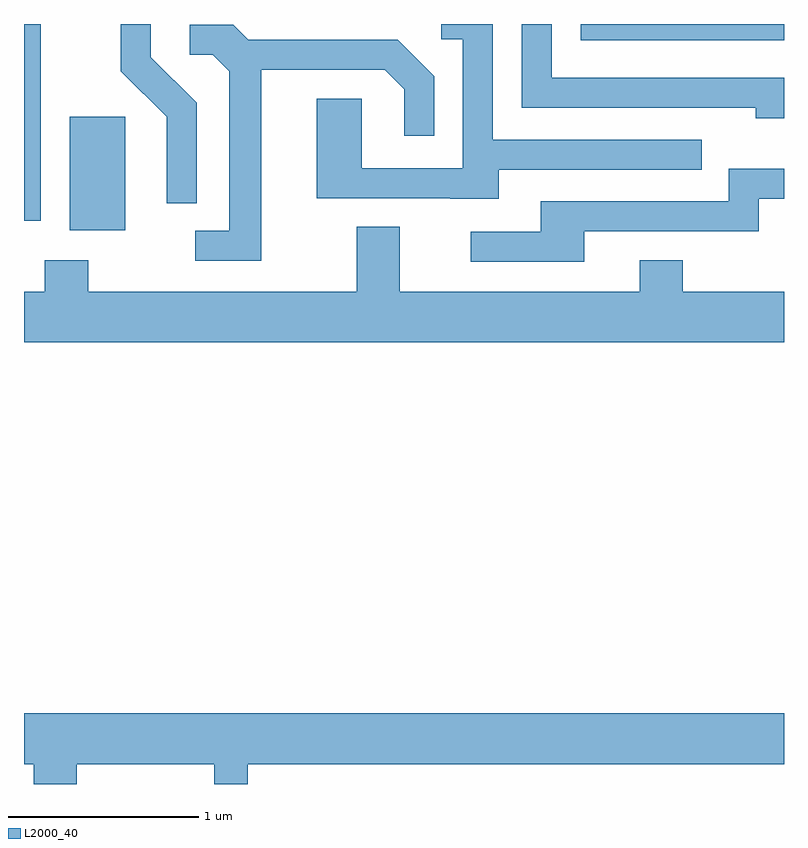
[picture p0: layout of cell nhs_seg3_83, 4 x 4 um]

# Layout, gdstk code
import gdstk
lib = gdstk.Library(unit=1e-6, precision=1e-09)
def R(c, l, rs):  # rectangles x0, y0, x1, y1
    for r in rs: c.add(gdstk.rectangle(r[:2], r[2:], *l))
def P(c, l, *ps):  # polygons
    for p in ps: c.add(gdstk.Polygon(p, *l))
L2000_40 = (2000, 40)

nhs_seg3_83 = lib.new_cell('nhs_seg3_83')
R(nhs_seg3_83, L2000_40, [(187.851,1148.806,188.144,1149.404), (187.611,1148.856,187.699,1149.892), (190.541,1149.806,191.611,1149.892)])
P(nhs_seg3_83, L2000_40, [(188.519,1149.477),(188.279,1149.717),(188.279,1149.892),(188.121,1149.892),(188.121,1149.644),(188.361,1149.404),(188.361,1148.948),(188.519,1148.948)],
  [(191.611,1149.609),(190.389,1149.609),(190.389,1149.892),(190.231,1149.892),(190.231,1149.451),(191.461,1149.451),(191.461,1149.396),(191.611,1149.396)],
  [(190.109,1149.126),(191.178,1149.126),(191.178,1149.284),(190.079,1149.284),(190.079,1149.892),(189.808,1149.892),(189.808,1149.811),(189.921,1149.811),(189.921,1149.134),(189.389,1149.134),(189.389,1149.499),(189.151,1149.499),(189.151,1148.976),(189.855,1148.976),(189.855,1148.971),(190.109,1148.971)],
  [(188.859,1149.651),(189.509,1149.651),(189.611,1149.549),(189.611,1149.303),(189.769,1149.303),(189.769,1149.617),(189.577,1149.809),(188.792,1149.809),(188.712,1149.889),(188.483,1149.889),(188.483,1149.731),(188.604,1149.731),(188.691,1149.644),(188.691,1148.804),(188.513,1148.804),(188.513,1148.646),(188.859,1148.646)],
  [(190.559,1148.801),(191.479,1148.801),(191.479,1148.971),(191.611,1148.971),(191.611,1149.129),(191.321,1149.129),(191.321,1148.959),(190.331,1148.959),(190.331,1148.799),(189.963,1148.799),(189.963,1148.641),(190.559,1148.641)],
  [(191.611,1148.484),(191.079,1148.484),(191.079,1148.649),(190.851,1148.649),(190.851,1148.484),(189.589,1148.484),(189.589,1148.824),(189.361,1148.824),(189.361,1148.484),(187.949,1148.484),(187.949,1148.649),(187.721,1148.649),(187.721,1148.484),(187.611,1148.484),(187.611,1148.216),(191.611,1148.216)],
  [(187.889,1145.996),(188.611,1145.996),(188.611,1145.892),(188.789,1145.892),(188.789,1145.996),(191.611,1145.996),(191.611,1146.264),(187.611,1146.264),(187.611,1145.996),(187.661,1145.996),(187.661,1145.892),(187.889,1145.892)])

lib.write_gds('nhs_seg3_83.gds')
